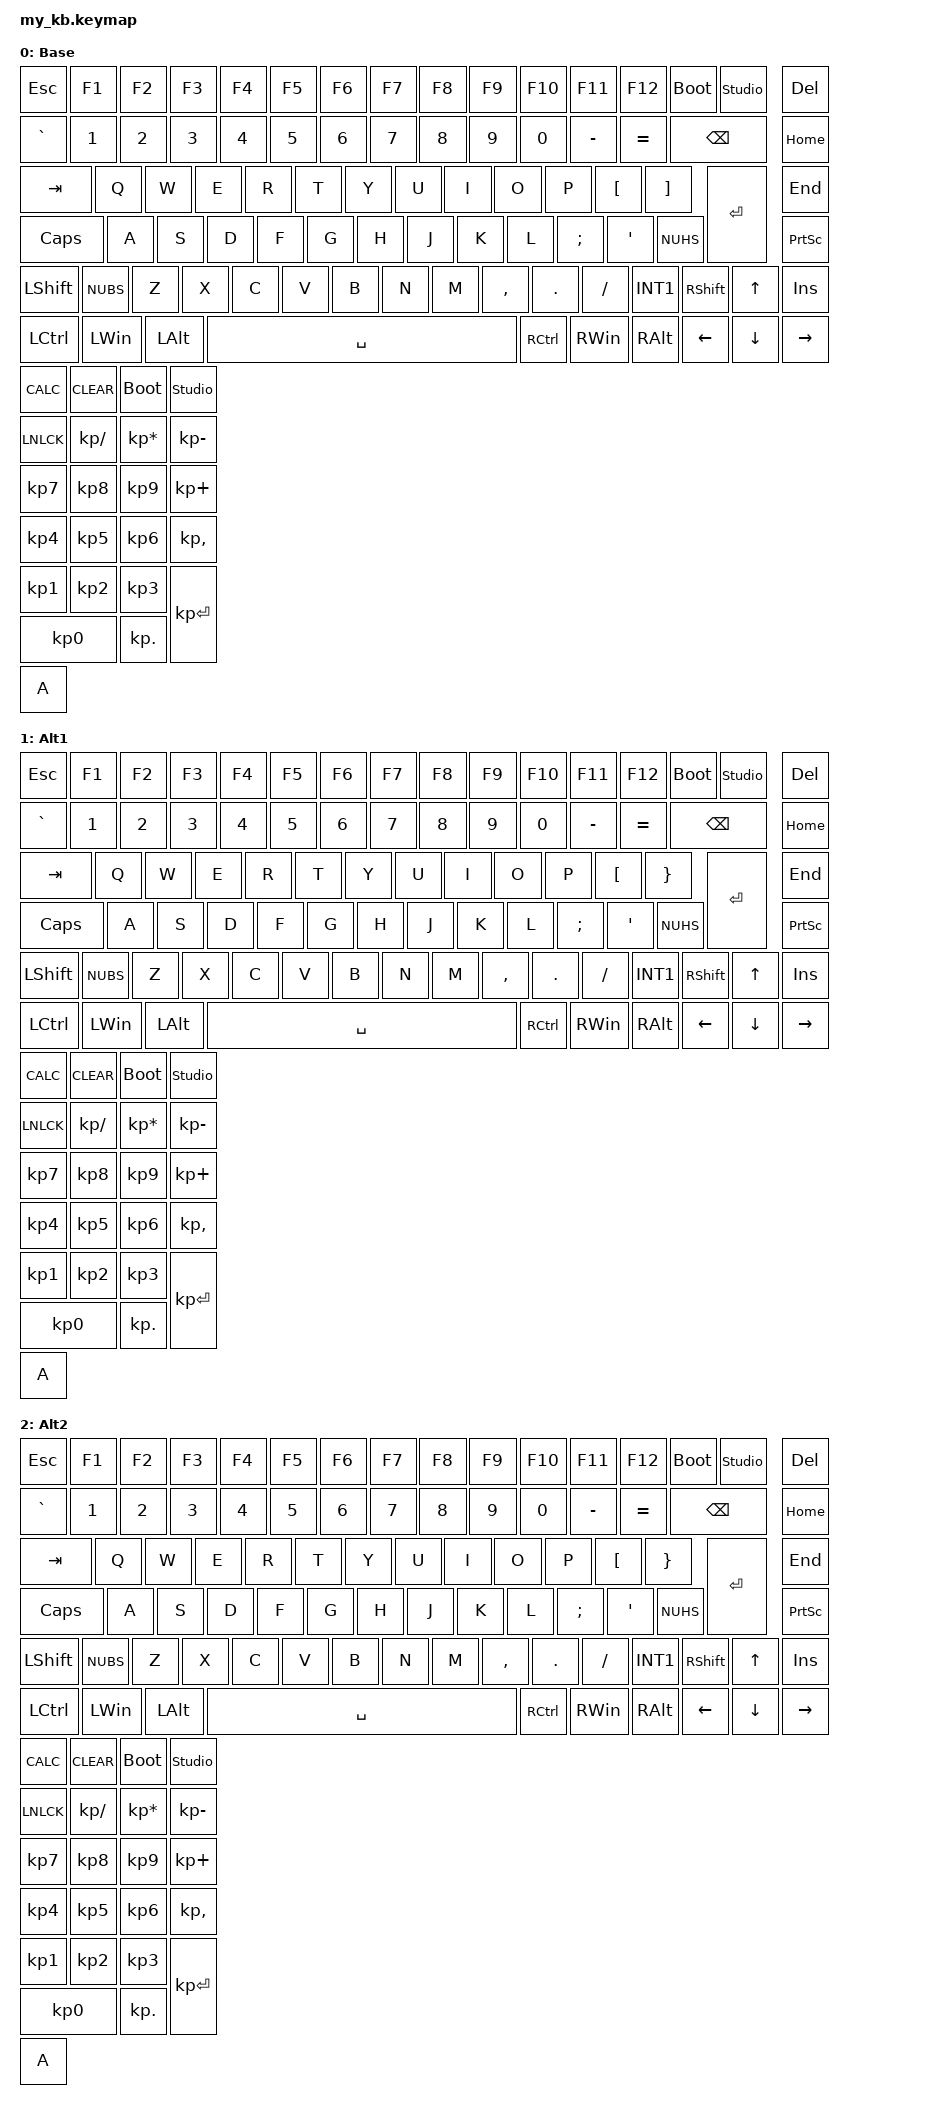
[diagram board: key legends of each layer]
#include <behaviors.dtsi>
#include <dt-bindings/zmk/keys.h>

 / {
    keymap {
        compatible = "zmk,keymap";

        default_layer {
            display-name = "Base";

            bindings = <
                &kp ESC		&kp F1		&kp F2		&kp F3		&kp F4		&kp F5		&kp F6		&kp F7		&kp F8		&kp F9		&kp F10		&kp F11		&kp F12		&bootloader	    &studio_unlock	&kp DEL	
                &kp GRAVE	&kp N1		&kp N2		&kp N3		&kp N4		&kp N5		&kp N6		&kp N7		&kp N8		&kp N9		&kp N0		&kp MINUS	&kp EQUAL	                &kp BSPC		&kp HOME 
                &kp TAB		            &kp Q		&kp W		&kp E		&kp R		&kp T		&kp Y		&kp U		&kp I		&kp O		&kp P		&kp LBKT	&kp RBKT	                    &kp END	
                &kp CAPS	            &kp A		&kp S		&kp D		&kp F		&kp G		&kp H		&kp J		&kp K		&kp L		&kp SEMI	&kp APOS	&kp NUHS	    &kp ENTER		&kp PSCRN 
                &kp LSHIFT	&kp NUBS	&kp Z		&kp X		&kp C		&kp V		&kp B		&kp N		&kp M		&kp COMMA	&kp DOT		&kp SLASH	&kp INT1	&kp RSHIFT		&kp UP		    &kp INS 
                &kp LCTRL	            &kp LWIN	&kp LALT						    &kp SPACE								        &kp RCTRL	&kp RWIN	&kp RALT	&kp LEFT	    &kp DOWN		&kp RIGHT 
                                                                            
                &kp K_CALC		&kp CLEAR		&bootloader		&studio_unlock 
                &kp LNLCK		&kp KP_DIVIDE	&kp KP_MULTIPLY	&kp KP_MINUS 
                &kp KP_N7		&kp KP_N8		&kp KP_N9		&kp KP_PLUS 
                &kp KP_N4		&kp KP_N5		&kp KP_N6		&kp KP_COMMA 
                &kp KP_N1		&kp KP_N2		&kp KP_N3 
                &kp KP_N0				        &kp KP_DOT		&kp KP_ENTER 
                &kp A
            >;
        };

        alt1 {
            display-name= "Alt1";

            bindings = <
                &kp ESC		&kp F1		&kp F2		&kp F3		&kp F4		&kp F5		&kp F6		&kp F7		&kp F8		&kp F9		&kp F10		&kp F11		&kp F12		&bootloader	    &studio_unlock	&kp DEL	
                &kp GRAVE	&kp N1		&kp N2		&kp N3		&kp N4		&kp N5		&kp N6		&kp N7		&kp N8		&kp N9		&kp N0		&kp MINUS	&kp EQUAL	                &kp BSPC		&kp HOME 
                &kp TAB		            &kp Q		&kp W		&kp E		&kp R		&kp T		&kp Y		&kp U		&kp I		&kp O		&kp P		&kp LBKT	&kp RBRC	                    &kp END	
                &kp CAPS	            &kp A		&kp S		&kp D		&kp F		&kp G		&kp H		&kp J		&kp K		&kp L		&kp SEMI	&kp APOS	&kp NUHS	    &kp ENTER		&kp PSCRN 
                &kp LSHIFT	&kp NUBS	&kp Z		&kp X		&kp C		&kp V		&kp B		&kp N		&kp M		&kp COMMA	&kp DOT		&kp SLASH	&kp INT1	&kp RSHIFT		&kp UP		    &kp INS 
                &kp LCTRL	            &kp LWIN	&kp LALT						    &kp SPACE								        &kp RCTRL	&kp RWIN	&kp RALT	&kp LEFT	    &kp DOWN		&kp RIGHT 
                                                                            
                &kp K_CALC		&kp CLEAR		&bootloader		&studio_unlock 
                &kp LNLCK		&kp KP_DIVIDE	&kp KP_MULTIPLY	&kp KP_MINUS 
                &kp KP_N7		&kp KP_N8		&kp KP_N9		&kp KP_PLUS 
                &kp KP_N4		&kp KP_N5		&kp KP_N6		&kp KP_COMMA 
                &kp KP_N1		&kp KP_N2		&kp KP_N3 
                &kp KP_N0				        &kp KP_DOT		&kp KP_ENTER 
                &kp A
            >;
        };

        alt2 {
            display-name= "Alt2";

            bindings = <
                &kp ESC		&kp F1		&kp F2		&kp F3		&kp F4		&kp F5		&kp F6		&kp F7		&kp F8		&kp F9		&kp F10		&kp F11		&kp F12		&bootloader	    &studio_unlock	&kp DEL	
                &kp GRAVE	&kp N1		&kp N2		&kp N3		&kp N4		&kp N5		&kp N6		&kp N7		&kp N8		&kp N9		&kp N0		&kp MINUS	&kp EQUAL	                &kp BSPC		&kp HOME 
                &kp TAB		            &kp Q		&kp W		&kp E		&kp R		&kp T		&kp Y		&kp U		&kp I		&kp O		&kp P		&kp LBKT	&kp RBRC	                    &kp END	
                &kp CAPS	            &kp A		&kp S		&kp D		&kp F		&kp G		&kp H		&kp J		&kp K		&kp L		&kp SEMI	&kp APOS	&kp NUHS	    &kp ENTER		&kp PSCRN 
                &kp LSHIFT	&kp NUBS	&kp Z		&kp X		&kp C		&kp V		&kp B		&kp N		&kp M		&kp COMMA	&kp DOT		&kp SLASH	&kp INT1	&kp RSHIFT		&kp UP		    &kp INS 
                &kp LCTRL	            &kp LWIN	&kp LALT						    &kp SPACE								        &kp RCTRL	&kp RWIN	&kp RALT	&kp LEFT	    &kp DOWN		&kp RIGHT 
                                                                            
                &kp K_CALC		&kp CLEAR		&bootloader		&studio_unlock 
                &kp LNLCK		&kp KP_DIVIDE	&kp KP_MULTIPLY	&kp KP_MINUS 
                &kp KP_N7		&kp KP_N8		&kp KP_N9		&kp KP_PLUS 
                &kp KP_N4		&kp KP_N5		&kp KP_N6		&kp KP_COMMA 
                &kp KP_N1		&kp KP_N2		&kp KP_N3 
                &kp KP_N0				        &kp KP_DOT		&kp KP_ENTER 
                &kp A
            >;
        };
    };
};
